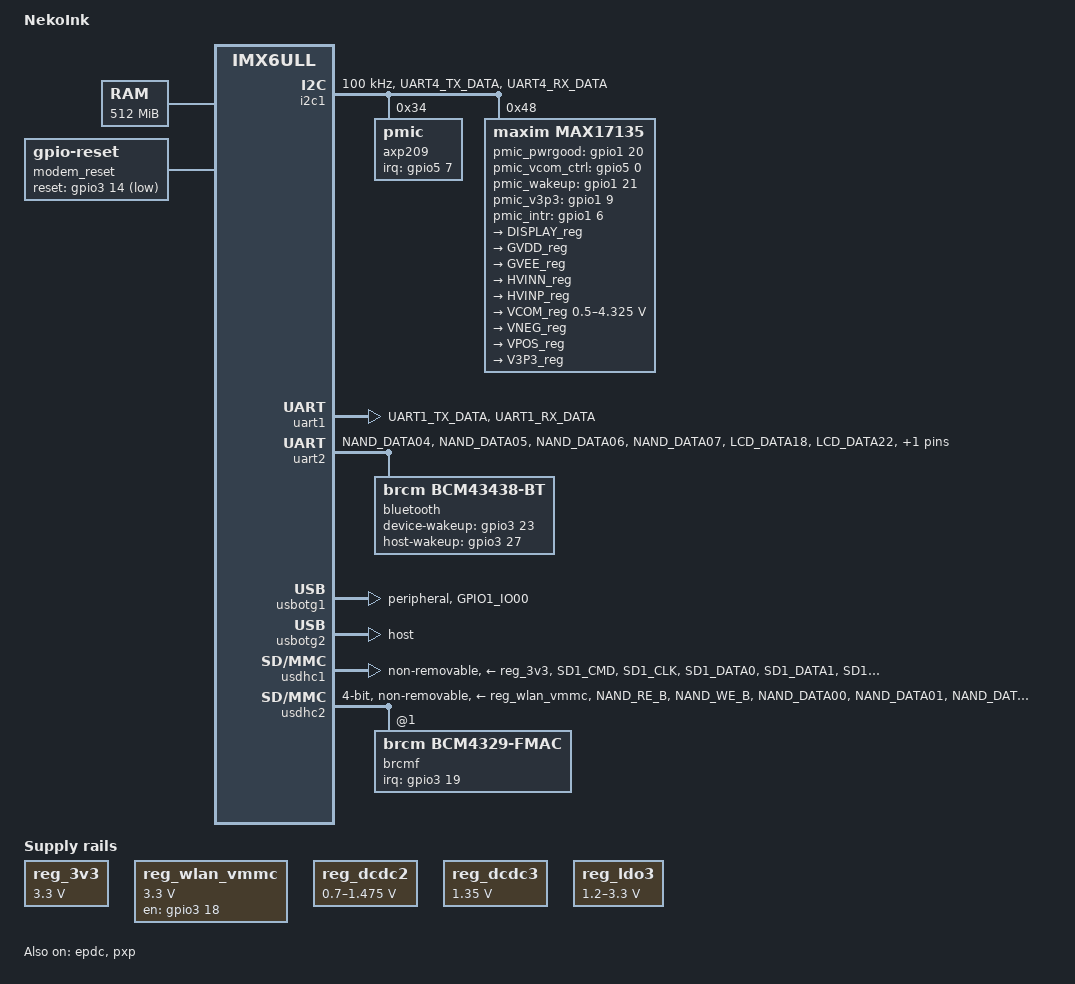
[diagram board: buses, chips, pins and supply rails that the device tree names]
// SPDX-License-Identifier: (GPL-2.0 OR MIT)
//
// Copyright (C) 2021 Wenting Zhang <zephray@outlook.com>
// Copyright (C) 2016 Freescale Semiconductor, Inc.

/dts-v1/;

#include "imx6ull.dtsi"

/ {
	model = "NekoInk";
	compatible = "modos,nekoink", "fsl,imx6ull";

	chosen {
		stdout-path = &uart1;
	};

	memory@80000000 {
		device_type = "memory";
		reg = <0x80000000 0x20000000>;
	};

	reserved-memory {
		#address-cells = <1>;
		#size-cells = <1>;
		ranges;

		linux,cma {
			compatible = "shared-dma-pool";
			reusable;
			size = <0xa000000>;
			linux,cma-default;
		};
	};

	pxp_v4l2 {
		compatible = "fsl,imx6ul-pxp-v4l2", "fsl,imx6sx-pxp-v4l2", "fsl,imx6sl-pxp-v4l2";
		status = "okay";
	};

	reg_3v3: regulator-3v3 {
		compatible = "regulator-fixed";
		regulator-name = "3.3V";
		regulator-min-microvolt = <3300000>;
		regulator-max-microvolt = <3300000>;
	};

	modem_reset: modem-reset {
		compatible = "gpio-reset";
		reset-gpios = <&gpio3 14 GPIO_ACTIVE_LOW>;
		reset-delay-us = <1000>;
		#reset-cells = <0>;
	};

	reg_wlan_vmmc: regulator-wlan-vmmc {
		compatible = "regulator-fixed";
		pinctrl-names = "default";
		pinctrl-0 = <&pinctrl_wlan_vmmc>;
		regulator-name = "reg_wlan_vmmc";
		regulator-min-microvolt = <3300000>;
		regulator-max-microvolt = <3300000>;
		gpio = <&gpio3 18 GPIO_ACTIVE_HIGH>;
		startup-delay-us = <70000>;
		enable-active-high;
	};
};

&clks {
	assigned-clocks = <&clks IMX6UL_CLK_PLL4_AUDIO_DIV>;
	assigned-clock-rates = <786432000>;
};


&i2c1 {
	clock-frequency = <100000>;
	pinctrl-names = "default";
	pinctrl-0 = <&pinctrl_i2c1>;
	status = "okay";

	axp209: pmic@34 {
		reg = <0x34>;
		interrupt-parent = <&gpio5>;
		interrupts = <7 IRQ_TYPE_LEVEL_LOW>;
	};

	max17135: max17135@48 {
		pinctrl-names = "default";
		pinctrl-0 = <&pinctrl_max17135>;
		compatible = "maxim,max17135";
		reg = <0x48>;
		status = "okay";

		vneg_pwrup = <1>;
		gvee_pwrup = <2>;
		vpos_pwrup = <10>;
		gvdd_pwrup = <12>;
		gvdd_pwrdn = <1>;
		vpos_pwrdn = <2>;
		gvee_pwrdn = <8>;
		vneg_pwrdn = <10>;
		gpio_pmic_pwrgood = <&gpio1 20 0>;
		gpio_pmic_vcom_ctrl = <&gpio5 0 0>;
		gpio_pmic_wakeup = <&gpio1 21 0>;
		gpio_pmic_v3p3 = <&gpio1 9 0>;
		gpio_pmic_intr = <&gpio1 6 0>;

		regulators {
			DISPLAY_reg: DISPLAY {
				regulator-name = "DISPLAY";
			};

			GVDD_reg: GVDD {
				/* 20v */
				regulator-name = "GVDD";
			};

			GVEE_reg: GVEE {
				/* -22v */
				regulator-name = "GVEE";
			};

			HVINN_reg: HVINN {
				/* -22v */
				regulator-name = "HVINN";
			};

			HVINP_reg: HVINP {
				/* 20v */
				regulator-name = "HVINP";
			};

			VCOM_reg: VCOM {
				regulator-name = "VCOM";
				/* Real max value: -500000 */
				regulator-max-microvolt = <4325000>;
				/* Real min value: -4325000 */
				regulator-min-microvolt = <500000>;
			};

			VNEG_reg: VNEG {
				/* -15v */
				regulator-name = "VNEG";
			};

			VPOS_reg: VPOS {
				/* 15v */
				regulator-name = "VPOS";
			};

			V3P3_reg: V3P3 {
				regulator-name = "V3P3";
			};
		};
	};
};

#include "axp209.dtsi"

&reg_dcdc2 {
	regulator-always-on;
	regulator-boot-on;
	regulator-min-microvolt = <700000>;
	regulator-max-microvolt = <1475000>;
	regulator-name = "vdd-cpu";
};

&reg_dcdc3 {
	regulator-always-on;
	regulator-boot-on;
	regulator-min-microvolt = <1350000>;
	regulator-max-microvolt = <1350000>;
	regulator-name = "vdd-ddr";
};

&reg_ldo1 {
	regulator-name = "vdd-rtc";
};

&reg_ldo3 {
	regulator-always-on;
	regulator-min-microvolt = <1200000>;
	regulator-max-microvolt = <3300000>;
	regulator-name = "nvcc-sd";
};

&cpu0 {
	/*
	 * on i.MX6ULL, no seperated VDD_ARM_IN and VDD_SOC_IN,
	 * to align with other platform and use the same cpufreq
	 * driver, still use the seperated OPP define for arm
	 * and soc.
	 */
	operating-points = <
		/* kHz	uV */
		900000	1275000
		792000	1225000
		528000	1175000
		396000	1175000
		198000	1175000
	>;
	fsl,soc-operating-points = <
		/* KHz	uV */
		900000	1275000
		792000  1275000
		528000	1175000
		396000	1175000
		198000	1175000
	>;
	fsl,arm-soc-shared = <1>;
};

&reg_arm {
	vin-supply = <&reg_dcdc2>;
	regulator-allow-bypass;
};

&reg_soc {
	vin-supply = <&reg_dcdc2>;
	regulator-allow-bypass;
};

&lcdif {
	status = "disabled";
};

&epdc {
	pinctrl-names = "default";
	pinctrl-0 = <&pinctrl_epdc0>;
	V3P3-supply = <&V3P3_reg>;
	VCOM-supply = <&VCOM_reg>;
	DISPLAY-supply = <&DISPLAY_reg>;
	status = "okay";
};

&pxp {
	status = "okay";
};

&uart1 {
	pinctrl-names = "default";
	pinctrl-0 = <&pinctrl_uart1>;
	status = "okay";
};

&uart2 {
	pinctrl-names = "default";
	pinctrl-0 = <&pinctrl_uart2 &pinctrl_bt_gpios>;
	uart-has-rtscts;
	status = "okay";

	bluetooth {
		compatible = "brcm,bcm43438-bt";
		device-wakeup-gpios = <&gpio3 23 GPIO_ACTIVE_HIGH>;
		host-wakeup-gpios = <&gpio3 27 GPIO_ACTIVE_HIGH>;
	};
};

&usbotg1 {
	dr_mode = "peripheral";
	pinctrl-names = "default";
	pinctrl-0 = <&pinctrl_usb_otg1>;
	status = "okay";
};

&usbotg2 {
	dr_mode = "host";
	disable-over-current;
	status = "okay";
};

&usbphy1 {
	fsl,tx-d-cal = <106>;
};

&usbphy2 {
	fsl,tx-d-cal = <106>;
};

&usdhc1 {
	pinctrl-names = "default", "state_100mhz", "state_200mhz";
	pinctrl-0 = <&pinctrl_usdhc1>;
	pinctrl-1 = <&pinctrl_usdhc1_100mhz>;
	pinctrl-2 = <&pinctrl_usdhc1_200mhz>;
	non-removable;
	disable-wp;
	wakeup-source;
	keep-power-in-suspend;
	vmmc-supply = <&reg_3v3>;
	vqmmc-supply = <&reg_ldo3>;
	sd-uhs-sdr12;
	sd-uhs-sdr25;
	sd-uhs-sdr50;
	sd-uhs-sdr104;
	status = "okay";
};

&usdhc2 {
	#address-cells = <1>;
	#size-cells = <0>;
	pinctrl-names = "default";
	pinctrl-0 = <&pinctrl_usdhc2>;
	bus-width = <4>;
	no-1-8-v;
	no-mmc;
	non-removable;
	vmmc-supply = <&reg_wlan_vmmc>;
	cap-power-off-card;
	keep-power-in-suspend;
	wakeup-source;
	status = "okay";

	brcmf: wifi@1 {
		reg = <1>;
		compatible = "brcm,bcm4329-fmac";
		pinctrl-names = "default";
		pinctrl-0 = <&pinctrl_wlan_irq>;
		interrupt-parent = <&gpio3>;
		interrupts = <19 IRQ_TYPE_LEVEL_HIGH>;
		interrupt-names = "host-wake";
	};
};

&iomuxc {
	pinctrl-names = "default";
	pinctrl-0 = <&pinctrl_hog>;

	pinctrl_hog: hoggrp {
		fsl,pins = <
			MX6UL_PAD_SNVS_TAMPER7__GPIO5_IO07	0x0b0b0 /* PMU_IRQ */
		>;
	};

	pinctrl_wlan_vmmc: wlan-vmmcgrp {
		fsl,pins = <
			MX6UL_PAD_LCD_DATA13__GPIO3_IO18    0x17059 /* WLAN_EN */
		>;
	};

	pinctrl_wlan_irq: wlanirqgrp {
		fsl,pins = <
			MX6UL_PAD_LCD_DATA14__GPIO3_IO19	0x0b0b0 /* WLAN_IRQ */
		>;
	};

	pinctrl_bt_gpios: btgpiosgrp {
		fsl,pins = <
			MX6UL_PAD_LCD_DATA18__GPIO3_IO23	0x17059 /* BT_WAKE */
			MX6UL_PAD_LCD_DATA22__GPIO3_IO27	0x0b0b0 /* BT_IRQ */
			MX6UL_PAD_LCD_DATA09__GPIO3_IO14    0x17059 /* BT_RST */
		>;
	};

	pinctrl_csi1: csi1grp {
		fsl,pins = <
			MX6UL_PAD_CSI_MCLK__CSI_MCLK		0x1b088
			MX6UL_PAD_CSI_PIXCLK__CSI_PIXCLK	0x1b088
			MX6UL_PAD_CSI_VSYNC__CSI_VSYNC		0x1b088
			MX6UL_PAD_CSI_HSYNC__CSI_HSYNC		0x1b088
			MX6UL_PAD_CSI_DATA00__CSI_DATA02	0x1b088
			MX6UL_PAD_CSI_DATA01__CSI_DATA03	0x1b088
			MX6UL_PAD_CSI_DATA02__CSI_DATA04	0x1b088
			MX6UL_PAD_CSI_DATA03__CSI_DATA05	0x1b088
			MX6UL_PAD_CSI_DATA04__CSI_DATA06	0x1b088
			MX6UL_PAD_CSI_DATA05__CSI_DATA07	0x1b088
			MX6UL_PAD_CSI_DATA06__CSI_DATA08	0x1b088
			MX6UL_PAD_CSI_DATA07__CSI_DATA09	0x1b088
		>;
	};

	pinctrl_i2c1: i2c1grp {
		fsl,pins = <
			MX6UL_PAD_UART4_TX_DATA__I2C1_SCL 0x4001b8b0
			MX6UL_PAD_UART4_RX_DATA__I2C1_SDA 0x4001b8b0
		>;
	};

	pinctrl_i2c2: i2c2grp {
		fsl,pins = <
			MX6UL_PAD_UART5_TX_DATA__I2C2_SCL 0x4001b8b0
			MX6UL_PAD_UART5_RX_DATA__I2C2_SDA 0x4001b8b0
		>;
	};

	pinctrl_epdc0: epdcgrp0 {
		fsl,pins = <
			MX6ULL_PAD_ENET2_RX_DATA0__EPDC_SDDO08 0x10
			MX6ULL_PAD_ENET2_RX_DATA1__EPDC_SDDO09 0x10
			MX6ULL_PAD_ENET2_RX_EN__EPDC_SDDO10    0x10
			MX6ULL_PAD_ENET2_TX_DATA0__EPDC_SDDO11 0x10
			MX6ULL_PAD_ENET2_TX_DATA1__EPDC_SDDO12 0x10
			MX6ULL_PAD_ENET2_TX_EN__EPDC_SDDO13    0x10
			MX6ULL_PAD_ENET2_TX_CLK__EPDC_SDDO14   0x10
			MX6ULL_PAD_ENET2_RX_ER__EPDC_SDDO15    0x10
			MX6ULL_PAD_LCD_CLK__EPDC_SDCLK         0x10
			MX6ULL_PAD_LCD_ENABLE__EPDC_SDLE       0x10
			MX6ULL_PAD_LCD_HSYNC__EPDC_SDOE        0x10
			MX6ULL_PAD_LCD_VSYNC__EPDC_SDCE0       0x10
			MX6ULL_PAD_LCD_RESET__EPDC_GDOE        0x10
			MX6ULL_PAD_LCD_DATA00__EPDC_SDDO00     0x10
			MX6ULL_PAD_LCD_DATA01__EPDC_SDDO01     0x10
			MX6ULL_PAD_LCD_DATA02__EPDC_SDDO02     0x10
			MX6ULL_PAD_LCD_DATA03__EPDC_SDDO03     0x10
			MX6ULL_PAD_LCD_DATA04__EPDC_SDDO04     0x10
			MX6ULL_PAD_LCD_DATA05__EPDC_SDDO05     0x10
			MX6ULL_PAD_LCD_DATA06__EPDC_SDDO06     0x10
			MX6ULL_PAD_LCD_DATA07__EPDC_SDDO07     0x10
			MX6ULL_PAD_LCD_DATA14__EPDC_SDSHR      0x10
			MX6ULL_PAD_LCD_DATA15__EPDC_GDRL       0x10
			MX6ULL_PAD_LCD_DATA16__EPDC_GDCLK      0x10
			MX6ULL_PAD_LCD_DATA17__EPDC_GDSP       0x10
		>;
	};

	pinctrl_max17135: max17135grp-1 {
		fsl,pins = <
			MX6UL_PAD_UART2_TX_DATA__GPIO1_IO20		0x0b0b0  /* pwrgood */
			MX6UL_PAD_SNVS_TAMPER0__GPIO5_IO00		0x17059  /* vcom_ctrl */
			MX6UL_PAD_UART2_RX_DATA__GPIO1_IO21		0x17059	  /* wakeup */
			MX6UL_PAD_GPIO1_IO06__GPIO1_IO06		0x0b0b0  /* pwr int */
		>;
	};

	pinctrl_uart1: uart1grp {
		fsl,pins = <
			MX6UL_PAD_UART1_TX_DATA__UART1_DCE_TX 0x1b0b1
			MX6UL_PAD_UART1_RX_DATA__UART1_DCE_RX 0x1b0b1
		>;
	};

	pinctrl_uart2: uart2grp {
		fsl,pins = <
			MX6UL_PAD_NAND_DATA04__UART2_DCE_TX		0x1b0b1
			MX6UL_PAD_NAND_DATA05__UART2_DCE_RX		0x1b0b1
			MX6UL_PAD_NAND_DATA06__UART2_DCE_CTS	0x1b0b1
			MX6UL_PAD_NAND_DATA07__UART2_DCE_RTS	0x1b0b1
		>;
	};

	pinctrl_usb_otg1: usbotg1grp {
		fsl,pins = <
			MX6UL_PAD_GPIO1_IO00__ANATOP_OTG1_ID	0x17059
		>;
	};

	pinctrl_usdhc1: usdhc1grp {
		fsl,pins = <
			MX6UL_PAD_SD1_CMD__USDHC1_CMD     	0x17059
			MX6UL_PAD_SD1_CLK__USDHC1_CLK		0x10071
			MX6UL_PAD_SD1_DATA0__USDHC1_DATA0 	0x17059
			MX6UL_PAD_SD1_DATA1__USDHC1_DATA1 	0x17059
			MX6UL_PAD_SD1_DATA2__USDHC1_DATA2 	0x17059
			MX6UL_PAD_SD1_DATA3__USDHC1_DATA3 	0x17059
			/*MX6UL_PAD_GPIO1_IO05__USDHC1_VSELECT    0x17059*/ /* SD1 VSELECT */
		>;
	};

	pinctrl_usdhc1_100mhz: usdhc1grp100mhz {
		fsl,pins = <
			MX6UL_PAD_SD1_CMD__USDHC1_CMD     0x170b9
			MX6UL_PAD_SD1_CLK__USDHC1_CLK     0x100b9
			MX6UL_PAD_SD1_DATA0__USDHC1_DATA0 0x170b9
			MX6UL_PAD_SD1_DATA1__USDHC1_DATA1 0x170b9
			MX6UL_PAD_SD1_DATA2__USDHC1_DATA2 0x170b9
			MX6UL_PAD_SD1_DATA3__USDHC1_DATA3 0x170b9

		>;
	};

	pinctrl_usdhc1_200mhz: usdhc1grp200mhz {
		fsl,pins = <
			MX6UL_PAD_SD1_CMD__USDHC1_CMD     0x170f9
			MX6UL_PAD_SD1_CLK__USDHC1_CLK     0x100f9
			MX6UL_PAD_SD1_DATA0__USDHC1_DATA0 0x170f9
			MX6UL_PAD_SD1_DATA1__USDHC1_DATA1 0x170f9
			MX6UL_PAD_SD1_DATA2__USDHC1_DATA2 0x170f9
			MX6UL_PAD_SD1_DATA3__USDHC1_DATA3 0x170f9
		>;
	};

	pinctrl_usdhc2: usdhc2grp {
		fsl,pins = <
			MX6UL_PAD_NAND_RE_B__USDHC2_CLK     0x17059
			MX6UL_PAD_NAND_WE_B__USDHC2_CMD     0x17059
			MX6UL_PAD_NAND_DATA00__USDHC2_DATA0 0x17059
			MX6UL_PAD_NAND_DATA01__USDHC2_DATA1 0x17059
			MX6UL_PAD_NAND_DATA02__USDHC2_DATA2 0x17059
			MX6UL_PAD_NAND_DATA03__USDHC2_DATA3 0x17059
		>;
	};

	pinctrl_wdog: wdoggrp {
		fsl,pins = <
			MX6UL_PAD_LCD_RESET__WDOG1_WDOG_ANY    0x30b0
		>;
	};
};
